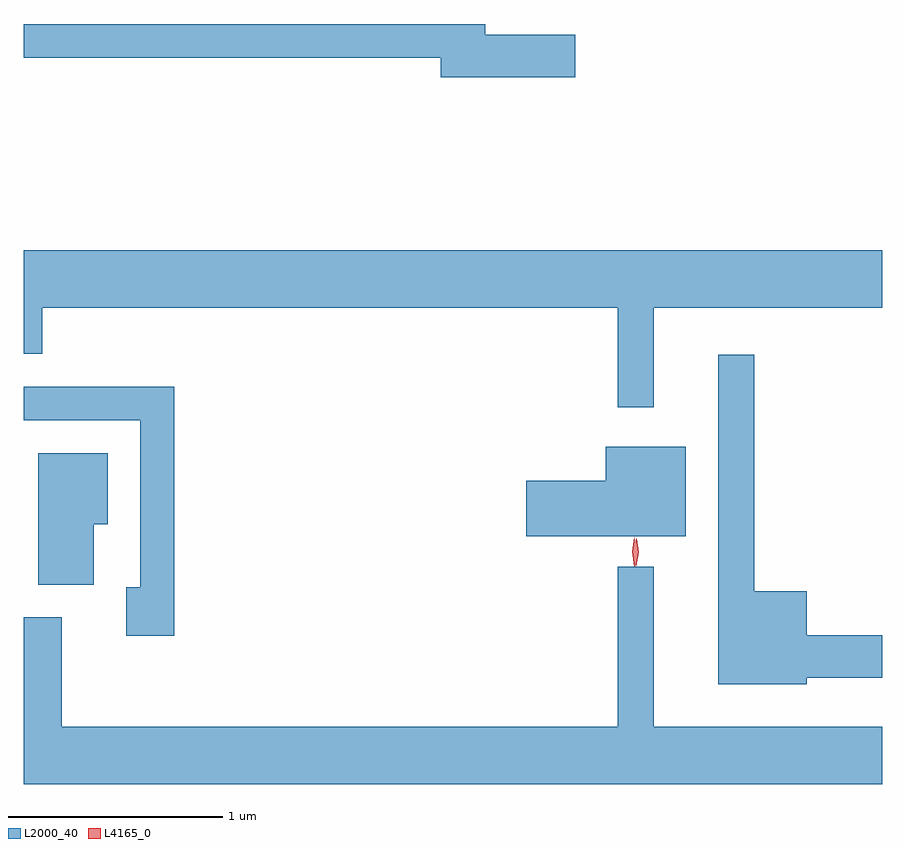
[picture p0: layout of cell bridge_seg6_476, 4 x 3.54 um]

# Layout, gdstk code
import gdstk
lib = gdstk.Library(unit=1e-6, precision=1e-09)
def P(c, l, *ps):  # polygons
    for p in ps: c.add(gdstk.Polygon(p, *l))
L2000_40 = (2000, 40)
L4165_0 = (4165, 0)

bridge_seg6_476 = lib.new_cell('bridge_seg6_476')
P(bridge_seg6_476, L2000_40, [(929.994,1580.169),(929.574,1580.169),(929.574,1580.219),(927.424,1580.219),(927.424,1580.061),(929.366,1580.061),(929.366,1579.971),(929.994,1579.971)],
  [(930.359,1578.896),(931.424,1578.896),(931.424,1579.164),(927.424,1579.164),(927.424,1578.681),(927.509,1578.681),(927.509,1578.896),(930.191,1578.896),(930.191,1578.433),(930.359,1578.433)],
  [(931.074,1577.171),(931.424,1577.171),(931.424,1577.369),(931.074,1577.369),(931.074,1577.574),(930.829,1577.574),(930.829,1578.678),(930.661,1578.678),(930.661,1577.141),(931.074,1577.141)],
  [(928.124,1578.529),(927.424,1578.529),(927.424,1578.371),(927.966,1578.371),(927.966,1577.594),(927.901,1577.594),(927.901,1577.366),(928.124,1577.366)],
  [(930.509,1578.249),(930.136,1578.249),(930.136,1578.089),(929.766,1578.089),(929.766,1577.831),(930.509,1577.831)],
  [(927.749,1577.886),(927.814,1577.886),(927.814,1578.219),(927.491,1578.219),(927.491,1577.606),(927.749,1577.606)],
  [(931.424,1576.944),(930.359,1576.944),(930.359,1577.688),(930.191,1577.688),(930.191,1576.944),(927.599,1576.944),(927.599,1577.454),(927.424,1577.454),(927.424,1576.676),(931.424,1576.676)])
P(bridge_seg6_476, L4165_0, [(930.278,1577.693),(930.277,1577.694),(930.269,1577.756),(930.279,1577.819),(930.28,1577.82),(930.28,1577.819),(930.289,1577.756),(930.278,1577.694)],
  [(930.27,1577.69),(930.27,1577.69),(930.26,1577.758),(930.269,1577.825),(930.269,1577.826),(930.27,1577.825),(930.28,1577.758),(930.271,1577.69)])

lib.write_gds('bridge_seg6_476.gds')
